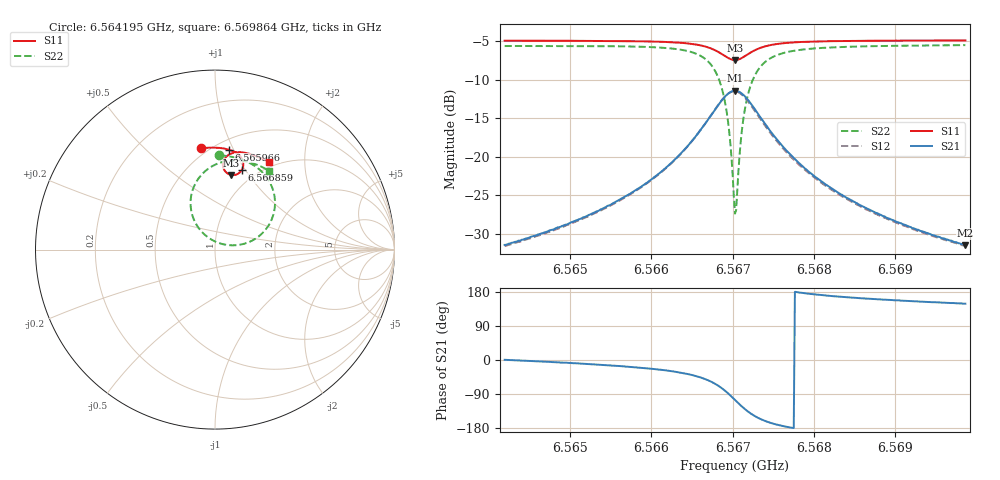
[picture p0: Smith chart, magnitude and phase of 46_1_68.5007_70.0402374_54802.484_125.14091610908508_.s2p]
#  HZ  S  RI  R  50.00
! Rohde & Schwarz Vector Network Analyzer
! Rohde-Schwarz,ZNB20-2Port,1311601062101988,3.16
! Created: UTC 3/20/2024, 5:05:47 PM
! freq[Hz]  re:S11  im:S11  re:S21  im:S21  re:S12  im:S12  re:S22  im:S22
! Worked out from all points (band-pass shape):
!   401 points, 6.564195 GHz to 6.569864 GHz, reference 50 ohm
!   highest |S21| = -11.40 dB at 6.567029 GHz (marker M1); lowest = -31.5 dB at 6.569864 GHz (marker M2)
!   |S21| within 3 dB of the highest: 6.566747 GHz to 6.567313 GHz (566.3 kHz wide, 0.00862 % of centre)
!   lowest |S11| = -7.4 dB at 6.567029 GHz (marker M3), VSWR 2.48, Z = 40.8 + j41.5 ohm
!   |S11| at or under -10 dB: nowhere
!   |S22| runs from -27.4 to -5.5 dB; largest |S21 - S12| = 0.012
!   S11 on the Smith chart (normalised r, x): 6.564195 GHz: 0.46, +0.77; 6.565966 GHz: 0.59, +0.96; 6.566859 GHz: 0.85, +0.97; 6.569864 GHz: 0.93, +1.34
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6.5641946e9  -0.0753 0.5639  0.0269 0.000253  0.0264 -0.000281  0.0238 0.5245
6.5651442e9  0.00178 0.5679  0.0395 -0.00678  0.0388 -0.00723  0.1117 0.5133
6.5659662e9  0.0767 0.5573  0.0642 -0.0263  0.0631 -0.0271  0.2129 0.4718
6.5660938e9  0.0899 0.5531  0.0707 -0.0333  0.0696 -0.034  0.2335 0.4578
6.5664056e9  0.1248 0.5346  0.0911 -0.064  0.0895 -0.0654  0.2918 0.3966
6.5666324e9  0.1505 0.5045  0.1046 -0.1162  0.1022 -0.1184  0.3317 0.2964
6.5667599e9  0.1578 0.4744  0.0977 -0.1687  0.0936 -0.1716  0.3258 0.1964
6.5668591e9  0.1498 0.4442  0.0666 -0.2208  0.0595 -0.2235  0.271 0.0988
6.5669016e9  0.1401 0.4315  0.0415 -0.2417  0.0329 -0.2435  0.2254 0.0606
6.5669442e9  0.1259 0.4213  0.00878 -0.2576  -0.00145 -0.2575  0.1654 0.0332
6.5669725e9  0.1143 0.4169  -0.0169 -0.2633  -0.0277 -0.2617  0.1193 0.0246
6.567015e9  0.0954 0.4155  -0.0579 -0.2625  -0.0687 -0.258  0.0467 0.0294
6.5670292e9  0.0889 0.4165  -0.0715 -0.2595  -0.0823 -0.2541  0.023 0.0361
6.5670575e9  0.0766 0.4205  -0.0973 -0.2496  -0.1071 -0.2423  -0.0211 0.0566
6.5671142e9  0.0569 0.436  -0.1395 -0.217  -0.1465 -0.2072  -0.0902 0.119
6.5671567e9  0.0481 0.4511  -0.1599 -0.1866  -0.1642 -0.1761  -0.1207 0.1748
6.5672134e9  0.044 0.4718  -0.1727 -0.1458  -0.174 -0.1357  -0.1359 0.2473
6.5672843e9  0.0479 0.4941  -0.1724 -0.1022  -0.1713 -0.0936  -0.1273 0.323
6.5675394e9  0.0871 0.5339  -0.129 -0.0221  -0.1263 -0.0183  -0.0295 0.4561
6.5679788e9  0.1457 0.5422  -0.0765 0.0082  -0.0749 0.00941  0.0924 0.4969
6.5689283e9  0.2319 0.5198  -0.037 0.0146  -0.0362 0.0149  0.2218 0.4774
6.5698637e9  0.3 0.4857  -0.0227 0.0139  -0.0224 0.0141  0.301 0.4391
